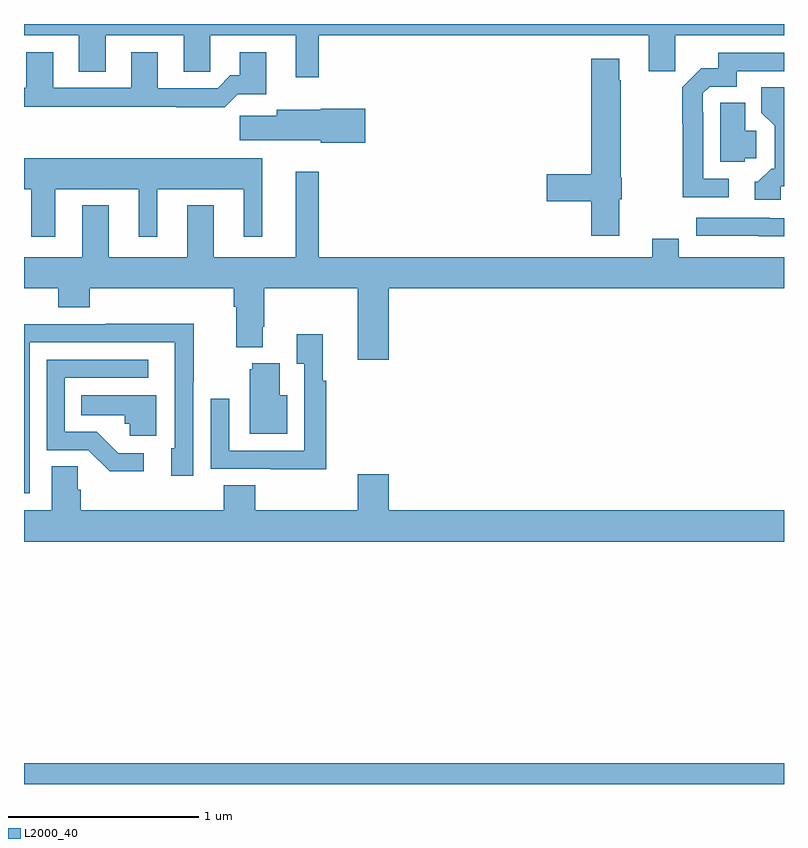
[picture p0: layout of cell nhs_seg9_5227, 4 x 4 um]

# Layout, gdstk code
import gdstk
lib = gdstk.Library(unit=1e-6, precision=1e-09)
def R(c, l, rs):  # rectangles x0, y0, x1, y1
    for r in rs: c.add(gdstk.rectangle(r[:2], r[2:], *l))
def P(c, l, *ps):  # polygons
    for p in ps: c.add(gdstk.Polygon(p, *l))
L2000_40 = (2000, 40)

nhs_seg9_5227 = lib.new_cell('nhs_seg9_5227')
R(nhs_seg9_5227, L2000_40, [(415,1172.5,419,1172.608)])
P(nhs_seg9_5227, L2000_40, [(416.551,1176.44),(418.289,1176.44),(418.289,1176.252),(418.427,1176.252),(418.427,1176.44),(419,1176.44),(419,1176.5),(415,1176.5),(415,1176.44),(415.289,1176.44),(415.289,1176.25),(415.429,1176.25),(415.429,1176.44),(415.841,1176.44),(415.841,1176.25),(415.98,1176.25),(415.98,1176.44),(416.429,1176.44),(416.429,1176.219),(416.551,1176.219)],
  [(416.126,1176.131),(416.275,1176.131),(416.275,1176.352),(416.135,1176.352),(416.135,1176.229),(416.086,1176.229),(416.019,1176.162),(415.705,1176.162),(415.705,1176.352),(415.565,1176.352),(415.565,1176.165),(415.153,1176.165),(415.153,1176.352),(415.013,1176.352),(415.013,1176.165),(415,1176.165),(415,1176.064),(415.801,1176.064),(415.801,1176.062),(416.057,1176.062)],
  [(418.708,1175.685),(418.575,1175.685),(418.575,1176.035),(418.572,1176.035),(418.572,1176.135),(418.608,1176.171),(418.752,1176.171),(418.752,1176.252),(419,1176.252),(419,1176.348),(418.654,1176.348),(418.654,1176.268),(418.564,1176.268),(418.464,1176.168),(418.464,1175.977),(418.467,1175.977),(418.467,1175.589),(418.708,1175.589)],
  [(418.132,1175.577),(418.146,1175.577),(418.146,1175.691),(418.14,1175.691),(418.14,1176.203),(418.132,1176.203),(418.132,1176.316),(417.986,1176.316),(417.986,1175.708),(417.75,1175.708),(417.75,1175.566),(417.986,1175.566),(417.986,1175.385),(418.132,1175.385)],
  [(418.983,1175.646),(419,1175.646),(419,1176.166),(418.88,1176.166),(418.88,1176.034),(418.95,1175.964),(418.95,1175.739),(418.932,1175.739),(418.863,1175.67),(418.847,1175.67),(418.847,1175.574),(418.983,1175.574)],
  [(418.794,1175.793),(418.854,1175.793),(418.854,1175.939),(418.795,1175.939),(418.795,1176.086),(418.665,1176.086),(418.665,1175.774),(418.794,1175.774)],
  [(416.797,1176.054),(416.562,1176.054),(416.562,1176.049),(416.33,1176.049),(416.33,1176.017),(416.136,1176.017),(416.136,1175.888),(416.562,1175.888),(416.562,1175.876),(416.797,1175.876)],
  [(415.165,1175.63),(415.604,1175.63),(415.604,1175.379),(415.702,1175.379),(415.702,1175.63),(416.156,1175.63),(416.156,1175.379),(416.254,1175.379),(416.254,1175.794),(415,1175.794),(415,1175.63),(415.037,1175.63),(415.037,1175.379),(415.165,1175.379)],
  [(416.92,1175.108),(419,1175.108),(419,1175.272),(418.447,1175.272),(418.447,1175.371),(418.307,1175.371),(418.307,1175.272),(416.551,1175.272),(416.551,1175.722),(416.429,1175.722),(416.429,1175.272),(415.999,1175.272),(415.999,1175.545),(415.859,1175.545),(415.859,1175.272),(415.447,1175.272),(415.447,1175.545),(415.307,1175.545),(415.307,1175.272),(415,1175.272),(415,1175.108),(415.181,1175.108),(415.181,1175.009),(415.346,1175.009),(415.346,1175.108),(416.105,1175.108),(416.105,1175.012),(416.117,1175.012),(416.117,1174.799),(416.257,1174.799),(416.257,1174.906),(416.265,1174.906),(416.265,1175.108),(416.756,1175.108),(416.756,1174.734),(416.92,1174.734)],
  [(419,1175.478),(418.925,1175.478),(418.925,1175.481),(418.539,1175.481),(418.539,1175.385),(418.867,1175.385),(418.867,1175.384),(419,1175.384)],
  [(415.029,1174.824),(415.793,1174.824),(415.793,1174.609),(415.794,1174.609),(415.794,1174.266),(415.775,1174.266),(415.775,1174.122),(415.89,1174.122),(415.89,1174.615),(415.893,1174.615),(415.893,1174.922),(415.429,1174.922),(415.429,1174.92),(415,1174.92),(415,1174.029),(415.029,1174.029)],
  [(416.591,1174.622),(416.573,1174.622),(416.573,1174.867),(416.435,1174.867),(416.435,1174.711),(416.475,1174.711),(416.475,1174.254),(416.079,1174.254),(416.079,1174.528),(415.983,1174.528),(415.983,1174.158),(416.299,1174.158),(416.299,1174.157),(416.591,1174.157)],
  [(415.63,1174.242),(415.495,1174.242),(415.384,1174.353),(415.215,1174.353),(415.215,1174.638),(415.654,1174.638),(415.654,1174.734),(415.119,1174.734),(415.119,1174.257),(415.338,1174.257),(415.451,1174.145),(415.63,1174.145)],
  [(416.386,1174.546),(416.347,1174.546),(416.347,1174.714),(416.201,1174.714),(416.201,1174.683),(416.189,1174.683),(416.189,1174.343),(416.386,1174.343)],
  [(415.696,1174.546),(415.3,1174.546),(415.3,1174.442),(415.531,1174.442),(415.531,1174.395),(415.557,1174.395),(415.557,1174.334),(415.696,1174.334)],
  [(419,1173.94),(416.92,1173.94),(416.92,1174.129),(416.756,1174.129),(416.756,1173.94),(416.216,1173.94),(416.216,1174.073),(416.051,1174.073),(416.051,1173.94),(415.298,1173.94),(415.298,1174.049),(415.284,1174.049),(415.284,1174.172),(415.145,1174.172),(415.145,1173.94),(415,1173.94),(415,1173.776),(419,1173.776)])

lib.write_gds('nhs_seg9_5227.gds')
